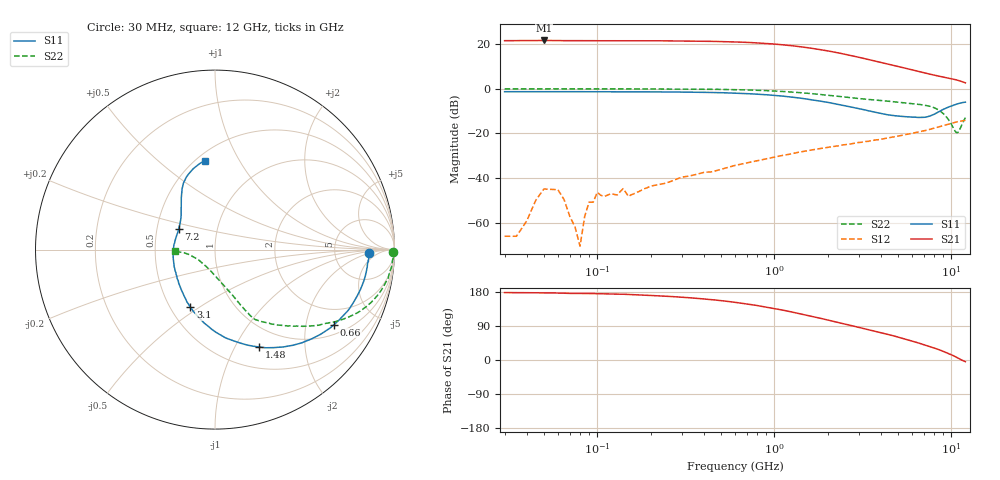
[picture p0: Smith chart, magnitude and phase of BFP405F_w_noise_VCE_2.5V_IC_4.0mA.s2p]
! Infineon Technologies  Discrete & RF Semiconductors
! BFP405F
! VCE =  2.5 V,  IC =  4.0 mA
! Common Emitter S-Parameters:  Nov 2015
# GHz  S  MA  R  50
!  f  S11  S21  S12  S22
! GHz  MAG  ANG  MAG  ANG  MAG  ANG  MAG  ANG
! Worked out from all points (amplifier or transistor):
!   239 points, 30 MHz to 12 GHz, reference 50 ohm
!   highest |S21| = 21.6 dB at 50 MHz (marker M1)
!   |S21| within 3 dB of that: start of sweep to 1.467 GHz
!   unconditionally stable (mu >= 1): 79.45 MHz to 80.16 MHz; 3.179 GHz to end of sweep
!   at 300 MHz: K = 0.13, MSG = 30.5 dB, |S12| = -39.6 dB
!   at 1.88 GHz: K = 0.59, MSG = 21.9 dB, |S12| = -26.6 dB
!   at 12 GHz: K = 1.49, MAG = 4.2 dB, |S12| = -14.1 dB
!   lowest NFmin = 1.20 dB at 450 MHz
!   S11 on the Smith chart (normalised r, x): 30 MHz: 13, -2; 660 MHz: 1.34, -2.90; 1.48 GHz: 0.75, -1.26; 3.1 GHz: 0.63, -0.46; 7.2 GHz: 0.65, +0.16; 12 GHz: 0.55, +0.73
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0.03  0.8557 -1.4  11.86 177.9  0.0005 -165.7  0.9895 -0.7
0.035  0.8551 -1.6  11.86 177.8  0.0005 101.7  0.9915 -0.8
0.05  0.8581 -2.6  11.99 177.0  0.0057 134.0  0.997 -0.9
0.06  0.8576 -2.7  11.87 176.7  0.0055 131.3  0.9932 -1.3
0.08  0.8556 -4.2  11.83 175.4  0.0003 26.0  0.9937 -1.7
0.085  0.8566 -4.4  11.86 175.5  0.0014 152.9  0.9926 -1.8
0.1  0.8534 -5.0  11.81 175.1  0.0048 73.1  0.9901 -2.5
0.14  0.8525 -7.0  11.85 173.6  0.0058 90.7  0.9913 -3.3
0.15  0.8528 -7.6  11.88 173.1  0.0039 91.6  0.9904 -3.5
0.24  0.8471 -12.0  11.76 168.5  0.0076 87.2  0.9878 -5.8
0.4  0.8283 -20.0  11.55 161.1  0.0134 83.2  0.9775 -9.5
0.6  0.7952 -29.5  11.12 152.1  0.0192 78.0  0.9523 -14.0
0.66  0.7839 -32.2  10.97 149.6  0.0208 76.0  0.9436 -15.3
1  0.7095 -47.1  9.964 135.7  0.0295 70.5  0.8879 -22.0
1.48  0.5967 -65.5  8.453 119.5  0.04 63.9  0.8011 -29.3
1.64  0.5628 -71.1  7.971 114.9  0.0428 62.3  0.773 -31.5
2.28  0.4478 -91.7  6.357 99.2  0.0524 57.2  0.6769 -39.0
3.1  0.3486 -113.3  4.89 84.5  0.0631 53.2  0.5945 -45.6
4.5  0.2573 -147.1  3.461 66.3  0.0806 50.1  0.521 -52.7
7.2  0.2324 150.3  2.213 38.5  0.117 43.5  0.4205 -61.7
10.8  0.4554 107.3  1.554 6.0  0.1824 27.8  0.1034 -133.9
12  0.4989 96.2  1.35 -4.4  0.1963 21.8  0.2256 -177.7
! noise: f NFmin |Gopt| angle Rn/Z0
0.45  1.2  0.44  5  0.35
0.9  1.21  0.41  13  0.38
1.5  1.29  0.38  19  0.33
1.9  1.32  0.36  25  0.33
2.4  1.49  0.34  35  0.35
3  1.56  0.32  46  0.32
3.5  1.61  0.31  55  0.29
4.5  1.77  0.24  70  0.26
5.5  2  0.15  83  0.16
